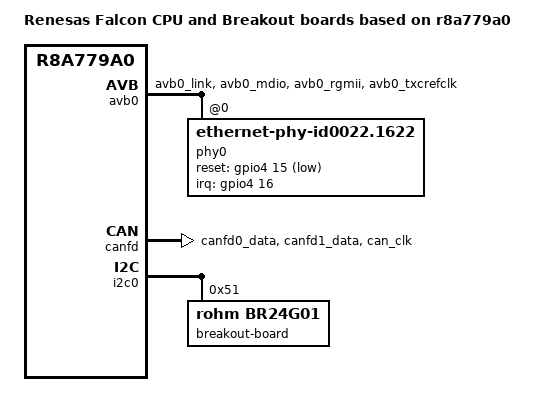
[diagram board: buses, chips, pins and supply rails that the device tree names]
// SPDX-License-Identifier: GPL-2.0
/*
 * Device Tree Source for the Falcon CPU and BreakOut boards with R-Car V3U
 *
 * Copyright (C) 2020 Renesas Electronics Corp.
 */

/dts-v1/;
#include "r8a779a0-falcon-cpu.dtsi"
#include "r8a779a0-falcon-csi-dsi.dtsi"
#include "r8a779a0-falcon-ethernet.dtsi"

/ {
	model = "Renesas Falcon CPU and Breakout boards based on r8a779a0";
	compatible = "renesas,falcon-breakout", "renesas,falcon-cpu", "renesas,r8a779a0";

	aliases {
		ethernet0 = &avb0;
	};
};

&avb0 {
	pinctrl-0 = <&avb0_pins>;
	pinctrl-names = "default";
	phy-handle = <&phy0>;
	tx-internal-delay-ps = <2000>;
	status = "okay";

	phy0: ethernet-phy@0 {
		compatible = "ethernet-phy-id0022.1622",
			     "ethernet-phy-ieee802.3-c22";
		rxc-skew-ps = <1500>;
		reg = <0>;
		interrupts-extended = <&gpio4 16 IRQ_TYPE_LEVEL_LOW>;
		reset-gpios = <&gpio4 15 GPIO_ACTIVE_LOW>;
	};
};

&can_clk {
	clock-frequency = <40000000>;
};

&canfd {
	pinctrl-0 = <&canfd0_pins>, <&canfd1_pins>, <&can_clk_pins>;
	pinctrl-names = "default";
	status = "okay";

	channel0 {
		status = "okay";
	};

	channel1 {
		status = "okay";
	};
};

&i2c0 {
	eeprom@51 {
		compatible = "rohm,br24g01", "atmel,24c01";
		label = "breakout-board";
		reg = <0x51>;
		pagesize = <8>;
	};
};

&pfc {
	avb0_pins: avb0 {
		mux {
			groups = "avb0_link", "avb0_mdio", "avb0_rgmii",
				 "avb0_txcrefclk";
			function = "avb0";
		};

		pins_mdio {
			groups = "avb0_mdio";
			drive-strength = <21>;
		};

		pins_mii {
			groups = "avb0_rgmii";
			drive-strength = <21>;
		};

	};

	can_clk_pins: can-clk {
		groups = "can_clk";
		function = "can_clk";
	};

	canfd0_pins: canfd0 {
		groups = "canfd0_data";
		function = "canfd0";
	};

	canfd1_pins: canfd1 {
		groups = "canfd1_data";
		function = "canfd1";
	};
};
